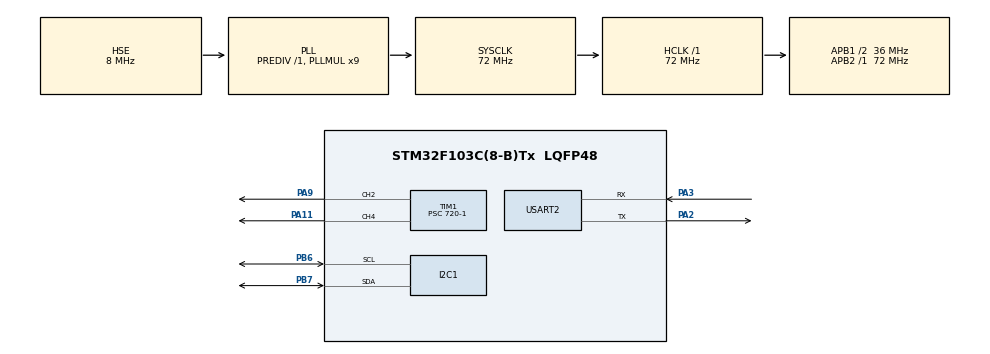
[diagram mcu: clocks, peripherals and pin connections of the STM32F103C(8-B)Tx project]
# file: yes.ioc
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I2C1.I2C_Mode=I2C_Fast
Mcu.Family=STM32F1
Mcu.Name=STM32F103C(8-B)Tx
Mcu.Package=LQFP48
NVIC.PriorityGroup=NVIC_PRIORITYGROUP_4
NVIC.USART2_IRQn=true\:0\:0\:false\:false\:true\:true\:true\:true
PA11.Signal=S_TIM1_CH4
PA13.Mode=Serial_Wire
PA13.Signal=SYS_JTMS-SWDIO
PA14.Mode=Serial_Wire
PA14.Signal=SYS_JTCK-SWCLK
PA2.Mode=Asynchronous
PA2.Signal=USART2_TX
PA3.Mode=Asynchronous
PA3.Signal=USART2_RX
PA9.Signal=S_TIM1_CH2
PB6.Mode=I2C
PB6.Signal=I2C1_SCL
PB7.Mode=I2C
PB7.Signal=I2C1_SDA
PD0-OSC_IN.Mode=HSE-External-Oscillator
PD0-OSC_IN.Signal=RCC_OSC_IN
PD1-OSC_OUT.Mode=HSE-External-Oscillator
PD1-OSC_OUT.Signal=RCC_OSC_OUT
ProjectManager.HeapSize=0x200
ProjectManager.StackSize=0x400
ProjectManager.TargetToolchain=CMake
RCC.AHBFreq_Value=72000000
RCC.APB1CLKDivider=RCC_HCLK_DIV2
RCC.APB1Freq_Value=36000000
RCC.APB1TimFreq_Value=72000000
RCC.APB2Freq_Value=72000000
RCC.APB2TimFreq_Value=72000000
RCC.HCLKFreq_Value=72000000
RCC.PLLMUL=RCC_PLL_MUL9
RCC.PLLSourceVirtual=RCC_PLLSOURCE_HSE
RCC.SYSCLKFreq_VALUE=72000000
RCC.SYSCLKSource=RCC_SYSCLKSOURCE_PLLCLK
RCC.USBFreq_Value=72000000
SH.S_TIM1_CH2.0=TIM1_CH2,PWM Generation2 CH2
SH.S_TIM1_CH4.0=TIM1_CH4,PWM Generation4 CH4
TIM1.Channel-PWM\ Generation2\ CH2=TIM_CHANNEL_2
TIM1.Channel-PWM\ Generation4\ CH4=TIM_CHANNEL_4
TIM1.Period=2000-1
TIM1.Prescaler=720-1
USART2.VirtualMode=VM_ASYNC
board=custom

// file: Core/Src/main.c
/* USER CODE BEGIN Header */
/**
  ******************************************************************************
  * @file           : main.c
  * @brief          : Main program body
  ******************************************************************************
  * @attention
  *
  * Copyright (c) 2026 STMicroelectronics.
  * All rights reserved.
  *
  * This software is licensed under terms that can be found in the LICENSE file
  * in the root directory of this software component.
  * If no LICENSE file comes with this software, it is provided AS-IS.
  *
  ******************************************************************************
  */
/* USER CODE END Header */
#include "main.h"
#include "i2c.h"
#include "tim.h"
#include "usart.h"
#include "gpio.h"
#include "tim.h"
/* USER CODE BEGIN Includes */
#include "OLED.h"
#include "mpu6050.h"
#include "stm32f1xx_it.h"
#include "stm32f1xx_hal.h"
#include "i2c.h"
#include "pid.h"

/* USER CODE END Includes */

/* USER CODE BEGIN PD */

// ---------------- 可调参数 ----------------
#define PID_PERIOD_MS       20      // PID 采样周期 20ms
#define SERVO_STEP_DEFAULT  5       // 默认步进
#define TARGET_LIMIT        45.0f   // PID 模式目标角度限幅
#define PID_OUT_LIMIT       45.0f   // PID 输出限幅，舵机行程 = 中位 ±45°
#define SERVO_YAW_CENTER    90      // Yaw 舵机中位
#define SERVO_PITCH_CENTER  90      // Pitch 舵机中位
#define SERVO_YAW_SIGN      (+1)    // Yaw 方向
#define SERVO_PITCH_SIGN    (+1)    // Pitch 方向1

/* USER CODE END PD */

/* USER CODE BEGIN PV */

MPU6050_t mpu6050_date;                 // 融合后的姿态数据
volatile uint8_t  rx_byte;              // 串口单字节缓冲（
volatile uint32_t rx_cnt = 0;           //

volatile uint8_t  pid_mode = 0;         // 0: 角度模式 1: PID 模式
PID_t    pid_yaw, pid_pitch;            // 两个轴的 PID
volatile float yaw_target   = 0.0f;     // PID 目标角度
volatile float pitch_target = 0.0f;
uint32_t pid_tick = 0;                  // 上次 PID 计算时刻
static   int16_t servo_angle[2] = {SERVO_YAW_CENTER, SERVO_PITCH_CENTER};   // 两轴当前舵机角度 [0]=PA9 [1]=PA11

/* USER CODE END PV */

void SystemClock_Config(void);
/* USER CODE BEGIN PFP */
void HAL_UART_RxCpltCallback(UART_HandleTypeDef *huart);
void Servo_SetPulse(uint16_t pulse_us, uint32_t channel);
void Servo_SetAngle(uint8_t angle, uint32_t channel);
void Servo_Jog(uint8_t axis, int16_t delta);

// 按微秒脉宽写 CCR：TIM1 计数频率 100kHz，1 个计数 = 10us，周期 2000 = 20ms(50Hz)
void Servo_SetPulse(uint16_t pulse_us, uint32_t channel)
{
  // 超出 0.5~2.5ms 会把舵机顶在机械限位上堵转发热
  if (pulse_us < 500)  pulse_us = 500;
  if (pulse_us > 2500) pulse_us = 2500;
  __HAL_TIM_SET_COMPARE(&htim1, channel, (uint16_t)(pulse_us / 10));
}

// 按角度写舵机：0°->0.5ms  90°->1.5ms  180°->2.5ms
void Servo_SetAngle(uint8_t angle, uint32_t channel)
{
  if (angle > 180) angle = 180;
  Servo_SetPulse((uint16_t)(500 + (uint32_t)angle * 2000 / 180), channel);
}

// 增量转动：手动模式下由串口命令直接调用，角度自动限幅 0~180
void Servo_Jog(uint8_t axis, int16_t delta)
{
  // 方向取反统一在这里做，两个模式共用 SERVO_xxx_SIGN
  if (axis == 0) delta = (int16_t)(delta * SERVO_YAW_SIGN);
  else           delta = (int16_t)(delta * SERVO_PITCH_SIGN);

  int16_t a = servo_angle[axis] + delta;
  if (a < 0)   a = 0;
  if (a > 180) a = 180;

  servo_angle[axis] = a;
  Servo_SetAngle((uint8_t)a, (axis == 0) ? TIM_CHANNEL_2 : TIM_CHANNEL_4);
}
/* USER CODE END PFP */

int main(void)
{

  /* MCU Configuration--------------------------------------------------------*/

  /* Reset of all peripherals, Initializes the Flash interface and the Systick. */
  HAL_Init();

  /* Configure the system clock */
  SystemClock_Config();

  /* Initialize all configured peripherals */
  MX_GPIO_Init();
  MX_I2C1_Init();
  MX_TIM1_Init();
  MX_USART2_UART_Init();
  /* USER CODE BEGIN 2 */
  OLED_Init();              // 0.96 寸 OLED
  MPU6050_Init(&hi2c1);     // 六轴陀螺仪

  // 避免上电第一个周期没有脉冲
  Servo_SetPulse(1500, TIM_CHANNEL_2);
  Servo_SetPulse(1500, TIM_CHANNEL_4);
  HAL_TIM_PWM_Start(&htim1, TIM_CHANNEL_2);
  HAL_TIM_PWM_Start(&htim1, TIM_CHANNEL_4);

  PID_Init(&pid_yaw,   0.8f, 0.05f, 0.05f, -PID_OUT_LIMIT, PID_OUT_LIMIT);
  PID_Init(&pid_pitch, 0.8f, 0.05f, 0.05f, -PID_OUT_LIMIT, PID_OUT_LIMIT);
  yaw_target   = 0.0f;
  pitch_target = 0.0f;
  pid_tick     = HAL_GetTick();

  servo_angle[0] = SERVO_YAW_CENTER;
  servo_angle[1] = SERVO_PITCH_CENTER;
  Servo_SetAngle(SERVO_YAW_CENTER,   TIM_CHANNEL_2);
  Servo_SetAngle(SERVO_PITCH_CENTER, TIM_CHANNEL_4);

  __HAL_UART_CLEAR_OREFLAG(&huart2);
  HAL_UART_Receive_IT(&huart2, (uint8_t *)&rx_byte, 1);
  /* USER CODE END 2 */

  /* Infinite loop */
  /* USER CODE BEGIN WHILE */

  while (1)
  {
    MPU6050_Read_All(&hi2c1, &mpu6050_date);   // 更新 KalmanAngleX/Y

    uint32_t now = HAL_GetTick();
    if (pid_mode && (now - pid_tick >= PID_PERIOD_MS))
    {
      float dt = (now - pid_tick) / 1000.0f;
      pid_tick = now;
      if (dt > 0.2f) dt = 0.2f;                // 主循环卡顿后防止微分项爆炸

      // 抗积分饱和
      if (pid_yaw.out   >=  PID_OUT_LIMIT - 0.1f || pid_yaw.out   <= -PID_OUT_LIMIT + 0.1f) pid_yaw.integral   = 0.0f;
      if (pid_pitch.out >=  PID_OUT_LIMIT - 0.1f || pid_pitch.out <= -PID_OUT_LIMIT + 0.1f) pid_pitch.integral = 0.0f;

      float out_y = PID_Update(&pid_yaw,   yaw_target,   mpu6050_date.KalmanAngleX, dt);
      float out_p = PID_Update(&pid_pitch, pitch_target, mpu6050_date.KalmanAngleY, dt);

      // 舵机中位 ± PID 修正量
      servo_angle[0] = (int16_t)(SERVO_YAW_CENTER   + SERVO_YAW_SIGN   * out_y);
      servo_angle[1] = (int16_t)(SERVO_PITCH_CENTER + SERVO_PITCH_SIGN * out_p);

      Servo_SetAngle((uint8_t)servo_angle[0], TIM_CHANNEL_2);
      Servo_SetAngle((uint8_t)servo_angle[1], TIM_CHANNEL_4);
    }

    // ---------------- OLED 显示 ----------------
    OLED_ShowString(0, 0, "YAW:  ", OLED_6X8);
    OLED_ShowFloatNum(40, 0, mpu6050_date.KalmanAngleX, 2, 2, OLED_6X8);
    OLED_ShowString(0, 12, "PITCH:", OLED_6X8);
    OLED_ShowFloatNum(40, 12, mpu6050_date.KalmanAngleY, 2, 2, OLED_6X8);
    OLED_ShowString(0, 24, pid_mode ? "MODE:PID" : "MODE:MAN", OLED_6X8);
    OLED_ShowString(0, 36, "A:", OLED_6X8);
    OLED_ShowNum(16, 36, servo_angle[0], 3, OLED_6X8);
    OLED_ShowString(56, 36, "B:", OLED_6X8);
    OLED_ShowNum(72, 36, servo_angle[1], 3, OLED_6X8);
    OLED_ShowString(0, 48, "T:", OLED_6X8);
    OLED_ShowSignedNum(16, 48, (int32_t)yaw_target, 2, OLED_6X8);
    OLED_ShowSignedNum(48, 48, (int32_t)pitch_target, 2, OLED_6X8);
    OLED_ShowString(0, 56, "RX:", OLED_6X8);
    OLED_ShowNum(24, 56, rx_cnt, 5, OLED_6X8);
    OLED_Update();
    /* USER CODE END WHILE */

  }
}

void SystemClock_Config(void)
{
  RCC_OscInitTypeDef RCC_OscInitStruct = {0};
  RCC_ClkInitTypeDef RCC_ClkInitStruct = {0};

  /** Initializes the RCC Oscillators according to the specified parameters
  * in the RCC_OscInitTypeDef structure.
  */
  RCC_OscInitStruct.OscillatorType = RCC_OSCILLATORTYPE_HSE;
  RCC_OscInitStruct.HSEState = RCC_HSE_ON;
  RCC_OscInitStruct.HSEPredivValue = RCC_HSE_PREDIV_DIV1;
  RCC_OscInitStruct.HSIState = RCC_HSI_ON;
  RCC_OscInitStruct.PLL.PLLState = RCC_PLL_ON;
  RCC_OscInitStruct.PLL.PLLSource = RCC_PLLSOURCE_HSE;
  RCC_OscInitStruct.PLL.PLLMUL = RCC_PLL_MUL9;
  if (HAL_RCC_OscConfig(&RCC_OscInitStruct) != HAL_OK)
  {
    Error_Handler();
  }

  /** Initializes the CPU, AHB and APB buses clocks
  */
  RCC_ClkInitStruct.ClockType = RCC_CLOCKTYPE_HCLK|RCC_CLOCKTYPE_SYSCLK
                              |RCC_CLOCKTYPE_PCLK1|RCC_CLOCKTYPE_PCLK2;
  RCC_ClkInitStruct.SYSCLKSource = RCC_SYSCLKSOURCE_PLLCLK;
  RCC_ClkInitStruct.AHBCLKDivider = RCC_SYSCLK_DIV1;
  RCC_ClkInitStruct.APB1CLKDivider = RCC_HCLK_DIV2;
  RCC_ClkInitStruct.APB2CLKDivider = RCC_HCLK_DIV1;

  if (HAL_RCC_ClockConfig(&RCC_ClkInitStruct, FLASH_LATENCY_2) != HAL_OK)
  {
    Error_Handler();
  }
}

/* USER CODE BEGIN 4 */

// 单独发一个小写 p 切换 PID 模式
void HAL_UART_RxCpltCallback(UART_HandleTypeDef *huart)
{
  static uint8_t state  = 0;   // 0=等字母 1=等十位 2=等个位
  static uint8_t letter = 0;
  static uint8_t value  = 0;

  if (huart->Instance != USART2) return;

  uint8_t c = rx_byte;
  rx_cnt++;

  if (state == 0)
  {
    if (c == 'p' || c == 'P')
    {
      pid_mode = !pid_mode;
      PID_Reset(&pid_yaw);      // 切模式时清掉积分
      PID_Reset(&pid_pitch);
      yaw_target   = 0.0f;
      pitch_target = 0.0f;
      pid_tick     = HAL_GetTick();
    }
    else if (c == 'a' || c == 'd' || c == 'w' || c == 's')
    {
      letter = c;
      value  = 0;
      state  = 1;
    }
  }
  else if (state == 1)
  {
    if (c >= '0' && c <= '9') { value = c - '0'; state = 2; }
    else state = 0;
  }
  else
  {
    if (c >= '0' && c <= '9')
    {
      uint8_t step = (uint8_t)(value * 10 + (c - '0'));
      if (step == 0) step = SERVO_STEP_DEFAULT;
      if (step > 90) step = 90;

      if (pid_mode)
      {
        // 闭环模式：命令改的是“目标角度”，舵机由 PID 驱动
        if      (letter == 'a') yaw_target   += step;
        else if (letter == 'd') yaw_target   -= step;
        else if (letter == 'w') pitch_target += step;
        else                    pitch_target -= step;

        if (yaw_target   >  TARGET_LIMIT) yaw_target   =  TARGET_LIMIT;
        if (yaw_target   < -TARGET_LIMIT) yaw_target   = -TARGET_LIMIT;
        if (pitch_target >  TARGET_LIMIT) pitch_target =  TARGET_LIMIT;
        if (pitch_target < -TARGET_LIMIT) pitch_target = -TARGET_LIMIT;
      }
      else
      {
        // 手动模式：命令直接增量驱动舵机，范围 0~180°
        uint8_t axis = (letter == 'a' || letter == 'd') ? 0 : 1;
        int16_t dir  = (letter == 'a' || letter == 'w') ? +1 : -1;
        Servo_Jog(axis, (int16_t)(dir * step));
      }
    }
    state = 0;
  }

  HAL_UART_Receive_IT(&huart2, (uint8_t *)&rx_byte, 1);
}

void HAL_UART_ErrorCallback(UART_HandleTypeDef *huart)
{
  if (huart->Instance == USART2)
  {
    __HAL_UART_CLEAR_OREFLAG(huart);
    HAL_UART_Receive_IT(&huart2, (uint8_t *)&rx_byte, 1);
  }
}
/* USER CODE END 4 */

void Error_Handler(void)
{
  __disable_irq();
  while (1)
  {
  }
}
